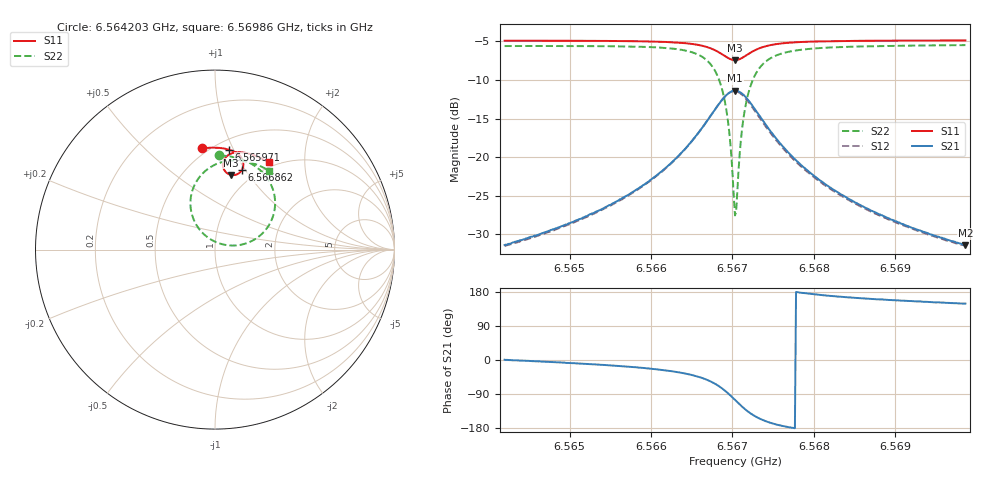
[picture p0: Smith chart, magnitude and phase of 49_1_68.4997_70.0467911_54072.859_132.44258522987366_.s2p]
#  HZ  S  RI  R  50.00
! Rohde & Schwarz Vector Network Analyzer
! Rohde-Schwarz,ZNB20-2Port,1311601062101988,3.16
! Created: UTC 3/20/2024, 5:05:54 PM
! freq[Hz]  re:S11  im:S11  re:S21  im:S21  re:S12  im:S12  re:S22  im:S22
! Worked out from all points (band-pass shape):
!   401 points, 6.564203 GHz to 6.56986 GHz, reference 50 ohm
!   highest |S21| = -11.38 dB at 6.567031 GHz (marker M1); lowest = -31.4 dB at 6.56986 GHz (marker M2)
!   |S21| within 3 dB of the highest: 6.566749 GHz to 6.567315 GHz (565.4 kHz wide, 0.00861 % of centre)
!   lowest |S11| = -7.4 dB at 6.567031 GHz (marker M3), VSWR 2.48, Z = 40.8 + j41.5 ohm
!   |S11| at or under -10 dB: nowhere
!   |S22| runs from -27.6 to -5.5 dB; largest |S21 - S12| = 0.012
!   S11 on the Smith chart (normalised r, x): 6.564203 GHz: 0.46, +0.77; 6.565971 GHz: 0.59, +0.96; 6.566862 GHz: 0.85, +0.97; 6.56986 GHz: 0.93, +1.34
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6.564203e9  -0.0747 0.5641  0.0269 0.000297  0.0264 -0.000179  0.0244 0.5245
6.5651505e9  0.00229 0.5678  0.0394 -0.00679  0.0389 -0.00725  0.1122 0.5131
6.5659707e9  0.0771 0.5572  0.0641 -0.0264  0.0633 -0.0271  0.2135 0.4716
6.566098e9  0.0902 0.5529  0.0708 -0.0336  0.0697 -0.0342  0.2339 0.4576
6.5664091e9  0.1252 0.5345  0.0912 -0.0642  0.0898 -0.0656  0.2923 0.3963
6.5666354e9  0.1507 0.5043  0.1049 -0.1164  0.1023 -0.1187  0.3323 0.2957
6.5667627e9  0.158 0.4742  0.098 -0.1691  0.0938 -0.1721  0.3261 0.1956
6.5668617e9  0.1501 0.4438  0.0668 -0.2213  0.0598 -0.224  0.2717 0.0977
6.5669041e9  0.1403 0.4311  0.0418 -0.2421  0.033 -0.244  0.2256 0.0597
6.5669465e9  0.1261 0.421  0.00871 -0.2579  -0.00142 -0.2582  0.1654 0.0322
6.5669748e9  0.1145 0.4166  -0.0168 -0.2638  -0.0278 -0.2623  0.1193 0.0233
6.5670172e9  0.0953 0.4151  -0.0579 -0.263  -0.0689 -0.2586  0.0466 0.0282
6.5670314e9  0.089 0.416  -0.0715 -0.26  -0.0824 -0.2547  0.0228 0.0351
6.5670597e9  0.0767 0.4203  -0.0977 -0.2502  -0.1075 -0.2428  -0.0217 0.0555
6.5671021e9  0.0611 0.4311  -0.1308 -0.2268  -0.1386 -0.2175  -0.0764 0.1004
6.5671445e9  0.0505 0.4456  -0.1545 -0.1974  -0.1597 -0.187  -0.1131 0.155
6.5672011e9  0.0442 0.4665  -0.1712 -0.1561  -0.1733 -0.1457  -0.1352 0.2293
6.5672718e9  0.0464 0.4899  -0.174 -0.1103  -0.1731 -0.1014  -0.1314 0.3091
6.5675263e9  0.0847 0.5329  -0.1317 -0.0244  -0.1289 -0.0206  -0.0355 0.4524
6.5679789e9  0.1456 0.5423  -0.0768 0.00833  -0.075 0.00941  0.092 0.4971
6.5689263e9  0.2317 0.5199  -0.0371 0.0147  -0.0362 0.0149  0.2215 0.4774
6.5698597e9  0.2998 0.4859  -0.0229 0.0139  -0.0225 0.0141  0.3007 0.4394
